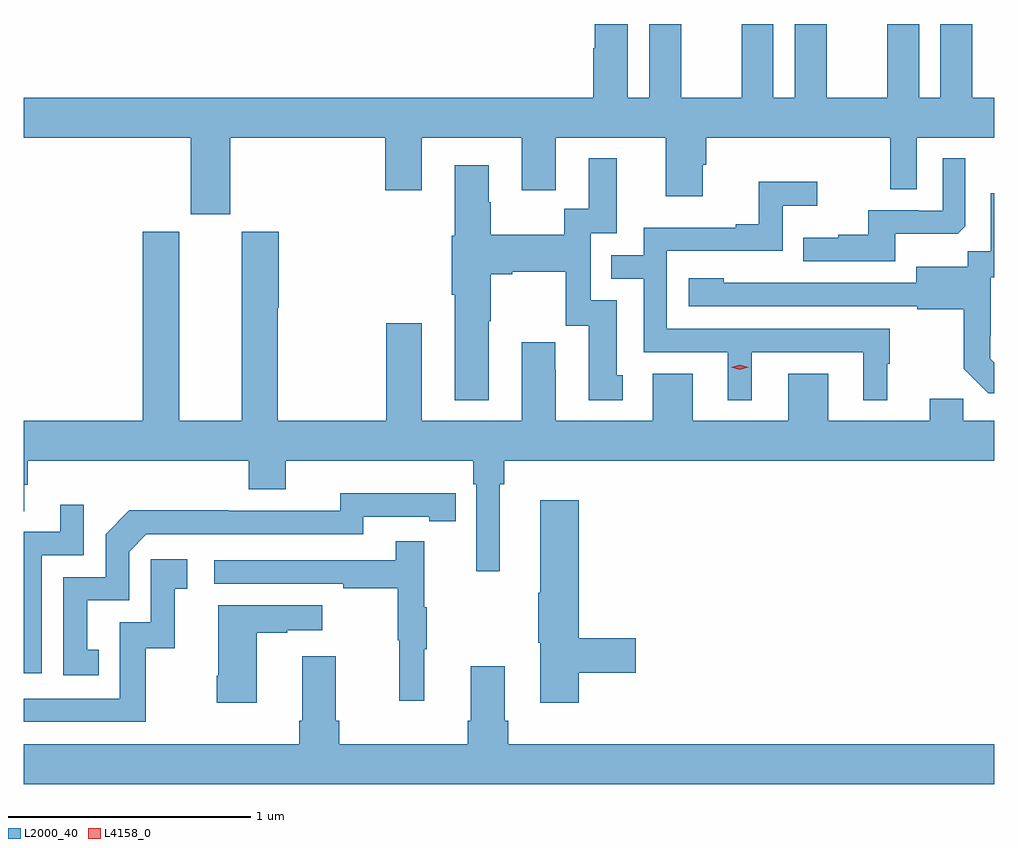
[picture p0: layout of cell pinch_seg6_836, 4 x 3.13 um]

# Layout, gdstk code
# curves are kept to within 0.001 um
import gdstk
lib = gdstk.Library(unit=1e-6, precision=1e-09)
def P(c, l, *ps):  # polygons
    for p in ps: c.add(gdstk.Polygon(p, *l))
L2000_40 = (2000, 40)
L4158_0 = (4158, 0)

pinch_seg6_836 = lib.new_cell('pinch_seg6_836')
P(pinch_seg6_836, L2000_40, [(191.812,947.336),(192.449,947.336),(192.449,947.118),(192.601,947.118),(192.601,947.336),(193.013,947.336),(193.013,947.118),(193.153,947.118),(193.153,947.336),(193.607,947.336),(193.607,947.094),(193.759,947.094),(193.759,947.223),(193.772,947.223),(193.772,947.336),(194.532,947.336),(194.532,947.122),(194.64,947.122),(194.64,947.336),(194.96,947.336),(194.96,947.5),(194.869,947.5),(194.869,947.804),(194.738,947.804),(194.738,947.5),(194.65,947.5),(194.65,947.804),(194.519,947.804),(194.519,947.5),(194.269,947.5),(194.269,947.804),(194.138,947.804),(194.138,947.5),(194.05,947.5),(194.05,947.804),(193.919,947.804),(193.919,947.5),(193.669,947.5),(193.669,947.804),(193.538,947.804),(193.538,947.5),(193.45,947.5),(193.45,947.804),(193.313,947.804),(193.313,947.705),(193.307,947.705),(193.307,947.5),(190.96,947.5),(190.96,947.336),(191.648,947.336),(191.648,947.019),(191.812,947.019)],
  [(194.551,946.94),(194.809,946.94),(194.841,946.971),(194.841,947.251),(194.748,947.251),(194.748,947.034),(194.648,947.034),(194.648,947.037),(194.441,947.037),(194.441,946.936),(194.317,946.936),(194.317,946.924),(194.173,946.924),(194.173,946.827),(194.551,946.827)],
  [(192.877,946.579),(192.885,946.579),(192.885,946.772),(192.973,946.772),(192.973,946.784),(193.193,946.784),(193.193,946.56),(193.289,946.56),(193.289,946.254),(193.429,946.254),(193.429,946.356),(193.405,946.356),(193.405,946.665),(193.296,946.665),(193.296,946.941),(193.405,946.941),(193.405,947.251),(193.289,947.251),(193.289,947.042),(193.188,947.042),(193.188,946.936),(192.885,946.936),(192.885,947.07),(192.877,947.07),(192.877,947.221),(192.737,947.221),(192.737,946.932),(192.725,946.932),(192.725,946.688),(192.737,946.688),(192.737,946.253),(192.877,946.253)],
  [(193.96,946.452),(194.42,946.452),(194.42,946.253),(194.518,946.253),(194.518,946.404),(194.53,946.404),(194.53,946.548),(193.611,946.548),(193.611,946.869),(194.088,946.869),(194.088,947.054),(194.23,947.054),(194.23,947.153),(193.99,947.153),(193.99,946.978),(193.895,946.978),(193.895,946.965),(193.515,946.965),(193.515,946.851),(193.381,946.851),(193.381,946.755),(193.515,946.755),(193.515,946.452),(193.862,946.452),(193.862,946.253),(193.96,946.253)],
  [(194.96,946.408),(194.944,946.424),(194.944,946.519),(194.946,946.519),(194.946,946.76),(194.96,946.76),(194.96,947.107),(194.945,947.107),(194.945,946.868),(194.85,946.868),(194.85,946.804),(194.639,946.804),(194.639,946.737),(193.845,946.738),(193.845,946.756),(193.701,946.756),(193.701,946.641),(194.643,946.641),(194.643,946.629),(194.835,946.629),(194.835,946.383),(194.935,946.283),(194.96,946.283)],
  [(192.922,945.908),(192.941,945.908),(192.941,946.004),(194.96,946.004),(194.96,946.168),(194.831,946.168),(194.831,946.259),(194.693,946.259),(194.693,946.168),(194.275,946.168),(194.275,946.363),(194.111,946.363),(194.111,946.168),(193.717,946.168),(193.717,946.363),(193.553,946.363),(193.553,946.168),(193.153,946.168),(193.153,946.379),(193.15,946.379),(193.15,946.492),(193.013,946.492),(193.013,946.168),(192.601,946.168),(192.601,946.57),(192.454,946.57),(192.454,946.168),(192.006,946.168),(192.006,946.635),(192.011,946.635),(192.011,946.947),(191.858,946.947),(191.858,946.168),(191.602,946.168),(191.602,946.947),(191.45,946.947),(191.45,946.168),(190.96,946.168),(190.96,945.796),(190.963,945.796),(190.963,945.906),(190.976,945.906),(190.976,946.004),(191.888,946.004),(191.888,945.887),(192.04,945.887),(192.04,946.004),(192.812,946.004),(192.812,945.908),(192.825,945.908),(192.825,945.549),(192.922,945.549)],
  [(191.27,945.225),(191.221,945.225),(191.221,945.429),(191.394,945.429),(191.394,945.63),(191.466,945.702),(192.36,945.702),(192.36,945.774),(192.632,945.774),(192.632,945.754),(192.74,945.754),(192.74,945.87),(192.264,945.871),(192.264,945.798),(191.804,945.798),(191.804,945.8),(191.396,945.8),(191.298,945.702),(191.298,945.525),(191.124,945.525),(191.124,945.12),(191.27,945.12)],
  [(193.247,945.13),(193.483,945.13),(193.483,945.272),(193.247,945.272),(193.247,945.841),(193.088,945.841),(193.088,945.461),(193.081,945.461),(193.081,945.255),(193.088,945.255),(193.088,945.006),(193.247,945.006)],
  [(191.034,945.615),(191.208,945.615),(191.208,945.823),(191.111,945.823),(191.111,945.711),(190.96,945.711),(190.96,945.129),(191.034,945.129)],
  [(192.611,945.227),(192.622,945.227),(192.622,945.401),(192.611,945.401),(192.611,945.673),(192.493,945.673),(192.493,945.594),(191.745,945.594),(191.745,945.498),(192.277,945.498),(192.277,945.478),(192.501,945.478),(192.501,945.264),(192.508,945.264),(192.508,945.015),(192.611,945.015)],
  [(191.464,945.231),(191.582,945.231),(191.582,945.477),(191.635,945.477),(191.635,945.598),(191.484,945.598),(191.484,945.339),(191.355,945.339),(191.355,945.024),(190.96,945.024),(190.96,944.928),(191.464,944.928)],
  [(191.92,945.295),(192.047,945.295),(192.047,945.305),(192.19,945.305),(192.19,945.409),(191.762,945.409),(191.762,945.118),(191.755,945.118),(191.755,945.006),(191.92,945.006)],
  [(194.96,944.836),(192.956,944.836),(192.956,944.932),(192.943,944.932),(192.943,945.157),(192.803,945.157),(192.803,944.932),(192.791,944.932),(192.791,944.836),(192.26,944.836),(192.26,944.932),(192.247,944.932),(192.247,945.199),(192.107,945.199),(192.107,944.932),(192.095,944.932),(192.095,944.836),(190.96,944.836),(190.96,944.672),(194.96,944.672)])
P(pinch_seg6_836, L4158_0, [(193.911,946.379),(193.876,946.389),(193.875,946.389),(193.876,946.389),(193.911,946.399),(193.946,946.389),(193.947,946.389),(193.946,946.389)])

lib.write_gds('pinch_seg6_836.gds')
